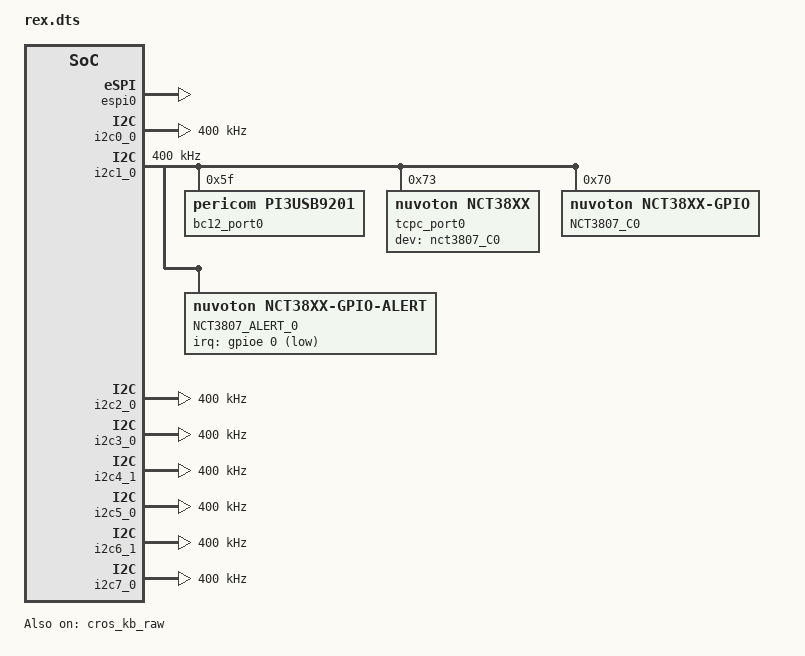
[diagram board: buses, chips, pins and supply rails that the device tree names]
/* Copyright 2022 The ChromiumOS Authors.
 * Use of this source code is governed by a BSD-style license that can be
 * found in the LICENSE file.
 */

 #include <dt-bindings/usb_pd_tcpm.h>

/ {
	aliases {
		gpio-wp = &ec_wp_l;
	};

	named-gpios {
		compatible = "named-gpios";

		ec_wp_l: write-protect {
			gpios = <&gpioa 0 GPIO_INPUT>;
		};
		gpio_ec_entering_rw: ec_entering_rw {
			enum-name = "GPIO_ENTERING_RW";
		};

		ioex_usb_c0_sbu_fault_odl: usb_c0_sbu_fault_odl {
			gpios = <&ioex_c0_port1 2 GPIO_INPUT>;
		};
		ioex_usb_c0_rt_rst_ls_l: usb_c0_rt_rst_ls_l {
			gpios = <&ioex_c0_port0 7 GPIO_OUTPUT>;
		};
	};
};

&cros_kb_raw {
	status = "okay";
	pinctrl-0 = <>;
	pinctrl-names = "default";
};

/* host interface */
&espi0 {
	status = "okay";
	pinctrl-0 = <&espi_lpc_gp46_47_51_52_53_54_55_57>;
	pinctrl-names = "default";
};

/* ADC and GPIO alt-function specifications */
&adc0 {
	pinctrl-0 = <&adc0_chan0_gp45
		     &adc0_chan1_gp44
		     &adc0_chan7_gpe1
		     &adc0_chan8_gpf1>;
	pinctrl-names = "default";
};

&i2c0_0 {
	label = "I2C_SENSOR";
	clock-frequency = <I2C_BITRATE_FAST>;

	pinctrl-0 = <&i2c0_0_sda_scl_gpb4_b5>;
	pinctrl-names = "default";
};

&i2c1_0 {
	label = "I2C_USB_C0_TCPC";
	clock-frequency = <I2C_BITRATE_FAST>;

	pinctrl-0 = <&i2c1_0_sda_scl_gp87_90>;
	pinctrl-names = "default";

	bc12_port0: pi3usb9201@5f {
		compatible = "pericom,pi3usb9201";
		status = "okay";
		reg = <0x5f>;
		irq = <&int_usb_c0_bc12>;
	};

	tcpc_port0: nct38xx@73 {
		compatible = "nuvoton,nct38xx";
		gpio-dev = <&nct3807_C0>;
		reg = <0x73>;
		tcpc-flags = <(TCPC_FLAGS_TCPCI_REV2_0)>;
	};

	nct3807_C0:nct3807_C0@70 {
		#address-cells = <1>;
		#size-cells = <0>;
		compatible = "nuvoton,nct38xx-gpio";
		reg = <0x70>;
		label = "NCT3807_C0";

		ioex_c0_port0:gpio@0 {
			compatible = "nuvoton,nct38xx-gpio-port";
			reg = <0x0>;
			label = "NCT3807_C0_GPIO0";
			gpio-controller;
			#gpio-cells = <2>;
			ngpios = <8>;
			pin_mask = <0xff>;
			pinmux_mask = <0xf7>;
		};
		ioex_c0_port1:gpio@1 {
			compatible = "nuvoton,nct38xx-gpio-port";
			reg = <0x1>;
			label = "NCT3807_C0_GPIO1";
			gpio-controller;
			#gpio-cells = <2>;
			ngpios = <8>;
			pin_mask = <0xff>;
		};
	};

	nct3808_alert_0 {
		compatible = "nuvoton,nct38xx-gpio-alert";
		irq-gpios = <&gpioe 0 GPIO_ACTIVE_LOW>;
		nct38xx-dev = <&nct3807_C0>;
		label = "NCT3807_ALERT_0";
	};
};

&i2c2_0 {
	label = "I2C_PPC0";
	clock-frequency = <I2C_BITRATE_FAST>;

	pinctrl-0 = <&i2c2_0_sda_scl_gp91_92>;
	pinctrl-names = "default";
};

&i2c3_0 {
	label = "I2C_USB_C0_C2_MUX";
	clock-frequency = <I2C_BITRATE_FAST>;

	pinctrl-0 = <&i2c3_0_sda_scl_gpd0_d1>;
	pinctrl-names = "default";
};

&i2c4_1 {
	label = "I2_USB_C1_TCPC";
	clock-frequency = <I2C_BITRATE_FAST>;

	pinctrl-0 = <&i2c4_1_sda_scl_gpf2_f3>;
	pinctrl-names = "default";
};

&i2c5_0 {
	label = "I2C__BATTERY";
	clock-frequency = <I2C_BITRATE_FAST>;

	pinctrl-0 = <&i2c5_0_sda_scl_gp33_36>;
	pinctrl-names = "default";
};

&i2c6_1 {
	label = "I2C_USB_1_MIX";
	clock-frequency = <I2C_BITRATE_FAST>;

	pinctrl-0 = <&i2c6_1_sda_scl_gpe3_e4>;
	pinctrl-names = "default";
};

&i2c7_0 {
	label = "I2C_CHARGER";
	clock-frequency = <I2C_BITRATE_FAST>;

	pinctrl-0 = <&i2c7_0_sda_scl_gpb2_b3>;
	pinctrl-names = "default";
};
